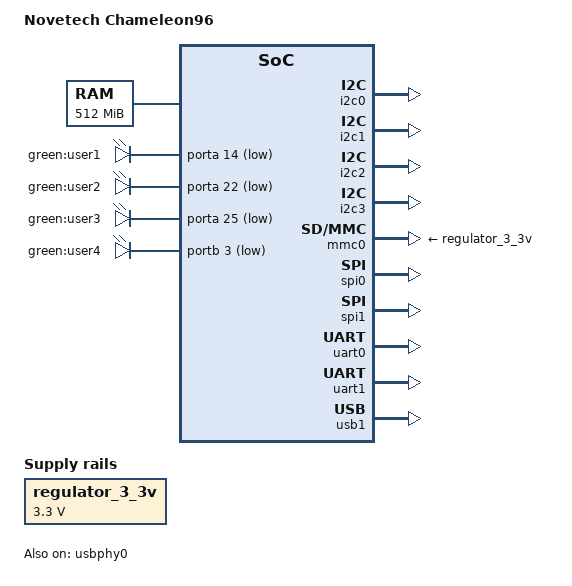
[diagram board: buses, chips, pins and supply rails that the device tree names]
// SPDX-License-Identifier: (GPL-2.0 OR MIT)
/*
 * Device Tree file for the Chameleon96
 *
 * Copyright (c) 2018 Manivannan Sadhasivam <manivannan.sadhasivam@linaro.org>
 */

#include <dt-bindings/gpio/gpio.h>

#include "socfpga_cyclone5.dtsi"

/ {
	model = "Novetech Chameleon96";
	compatible = "novtech,chameleon96", "altr,socfpga-cyclone5", "altr,socfpga";

	chosen {
		bootargs = "earlyprintk";
		stdout-path = "serial0:115200n8";
	};

	memory@0 {
		name = "memory";
		device_type = "memory";
		reg = <0x0 0x20000000>; /* 512MB */
	};

	regulator_3_3v: 3-3-v-regulator {
		compatible = "regulator-fixed";
		regulator-name = "3.3V";
		regulator-min-microvolt = <3300000>;
		regulator-max-microvolt = <3300000>;
	};

	leds {
		compatible = "gpio-leds";

		user_led1 {
			label = "green:user1";
			gpios = <&porta 14 GPIO_ACTIVE_LOW>;
			linux,default-trigger = "heartbeat";
		};

		user_led2 {
			label = "green:user2";
			gpios = <&porta 22 GPIO_ACTIVE_LOW>;
			linux,default-trigger = "mmc0";
		};

		user_led3 {
			label = "green:user3";
			gpios = <&porta 25 GPIO_ACTIVE_LOW>;
			linux,default-trigger = "none";
		};

		user_led4 {
			label = "green:user4";
			gpios = <&portb 3 GPIO_ACTIVE_LOW>;
			panic-indicator;
			linux,default-trigger = "none";
		};
	};
};

&gpio0 {
	status = "okay";
};

&gpio1 {
	status = "okay";
};

&i2c0 {
	/* On Low speed expansion */
	label = "LS-I2C0";
	status = "okay";
};

&i2c1 {
	/* On Low speed expansion */
	label = "LS-I2C1";
	status = "okay";
};

&i2c2 {
	status = "okay";
};

&i2c3 {
	/* On High speed expansion */
	label = "HS-I2C2";
	status = "okay";
};

&mmc0 {
	vmmc-supply = <&regulator_3_3v>;
	vqmmc-supply = <&regulator_3_3v>;
	status = "okay";
};

&spi0 {
	/* On High speed expansion */
	label = "HS-SPI1";
	status = "okay";
};

&spi1 {
	/* On Low speed expansion */
	label = "LS-SPI0";
	status = "okay";
};

&uart0 {
	/* On Low speed expansion */
	label = "LS-UART1";
	status = "okay";
};

&uart1 {
	/* On Low speed expansion */
	label = "LS-UART0";
	status = "okay";
};

&usbphy0 {
	status = "okay";
};

&usb1 {
	status = "okay";
};
